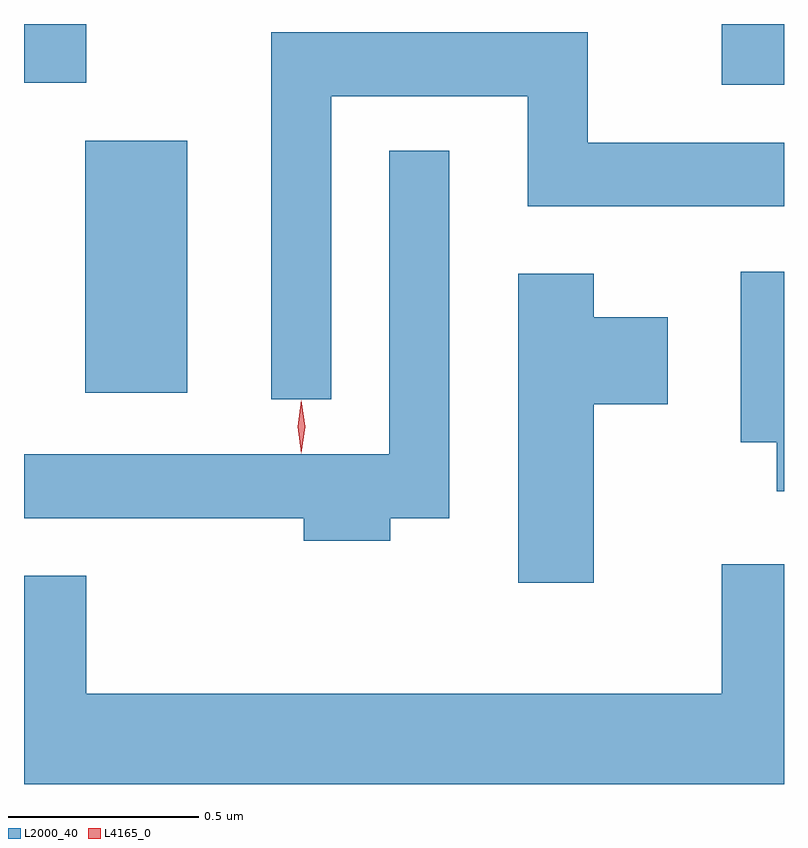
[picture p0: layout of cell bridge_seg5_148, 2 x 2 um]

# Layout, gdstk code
import gdstk
lib = gdstk.Library(unit=1e-6, precision=1e-09)
def R(c, l, rs):  # rectangles x0, y0, x1, y1
    for r in rs: c.add(gdstk.rectangle(r[:2], r[2:], *l))
def P(c, l, *ps):  # polygons
    for p in ps: c.add(gdstk.Polygon(p, *l))
L2000_40 = (2000, 40)
L4165_0 = (4165, 0)

bridge_seg5_148 = lib.new_cell('bridge_seg5_148')
R(bridge_seg5_148, L2000_40, [(1177.266,1415.676,1177.534,1416.339), (1178.941,1416.486,1179.105,1416.646), (1177.105,1416.491,1177.269,1416.646)])
P(bridge_seg5_148, L2000_40, [(1177.914,1416.456),(1178.431,1416.456),(1178.431,1416.166),(1179.105,1416.166),(1179.105,1416.334),(1178.589,1416.334),(1178.589,1416.624),(1177.756,1416.624),(1177.756,1415.658),(1177.914,1415.658)],
  [(1178.069,1415.346),(1178.224,1415.346),(1178.224,1416.313),(1178.066,1416.313),(1178.066,1415.514),(1177.105,1415.514),(1177.105,1415.346),(1177.841,1415.346),(1177.841,1415.286),(1178.069,1415.286)],
  [(1179.105,1415.994),(1178.991,1415.994),(1178.991,1415.546),(1179.086,1415.546),(1179.086,1415.416),(1179.105,1415.416)],
  [(1178.604,1415.646),(1178.799,1415.646),(1178.799,1415.874),(1178.604,1415.874),(1178.604,1415.989),(1178.406,1415.989),(1178.406,1415.176),(1178.604,1415.176)],
  [(1179.105,1415.224),(1178.941,1415.224),(1178.941,1414.884),(1177.269,1414.884),(1177.269,1415.194),(1177.105,1415.194),(1177.105,1414.646),(1179.105,1414.646)])
P(bridge_seg5_148, L4165_0, [(1177.834,1415.517),(1177.825,1415.586),(1177.834,1415.656),(1177.835,1415.656),(1177.835,1415.656),(1177.845,1415.586),(1177.835,1415.517),(1177.835,1415.517)])

lib.write_gds('bridge_seg5_148.gds')
